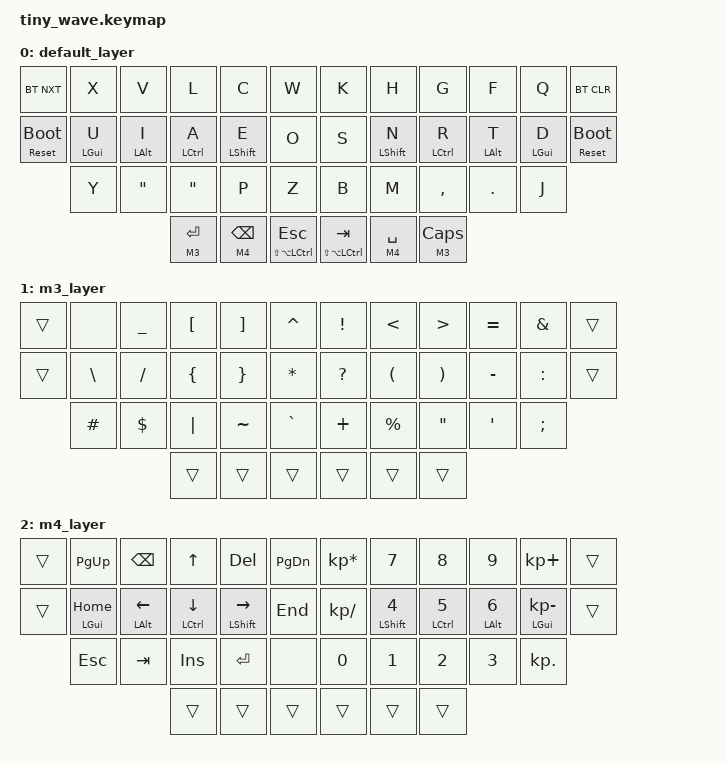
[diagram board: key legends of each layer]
#include <behaviors.dtsi>
#include <dt-bindings/zmk/keys.h>
#include <dt-bindings/zmk/ext_power.h>
#include <dt-bindings/zmk/outputs.h>
#include <dt-bindings/zmk/bt.h>

#define DEFAULT 0
#define M3      1
#define M4      2

#define TAPPING_TERM 300
#define PRIOR_IDLE_TIME 150
#define QUICK_TAP_TIME 300 

#define MEH LS(LA(LCTL))

/ {
    behaviors {
        lhr: left_hand_positional_hold_tap_super {
            compatible = "zmk,behavior-hold-tap";
            label = "LEFT_POSITIONAL_HOLD_TAP_SUPER";
            #binding-cells = <2>;
            flavor = "tap-preferred";
            tapping-term-ms = <TAPPING_TERM>;        // <---[[produces hold if held longer than tapping-term-ms]]
            quick-tap-ms = <QUICK_TAP_TIME>;           // if same button is pressed again after this amount of time it is a tap automatically
            require-prior-idle-ms = <PRIOR_IDLE_TIME>;  // only allow hold behavior if no other key was pressed for this amount of time
            hold-trigger-key-positions = <6 7 8 9 10 18 19 20 21 22 29 30 31 32 33 34 35 36 37 38 39>;    // <---[[right-hand keys + thumbs]]
            hold-trigger-on-release;        // eveluate hold trigger on release -> this enables combining different modifiers by holding different keys
            bindings = <&kp>, <&kp>;
        };
        rhr: right_hand_positional_hold_tap_super {
            compatible = "zmk,behavior-hold-tap";
            label = "RIGHT_POSITIONAL_HOLD_TAP_SUPER";
            #binding-cells = <2>;
            flavor = "tap-preferred";
            tapping-term-ms = <TAPPING_TERM>;        // <---[[produces hold if held longer than tapping-term-ms]]
            quick-tap-ms = <QUICK_TAP_TIME>;           // if same button is pressed again after this amount of time it is a tap automatically
            require-prior-idle-ms = <PRIOR_IDLE_TIME>;  // only allow hold behavior if no other key was pressed for this amount of time
            bindings = <&kp>, <&kp>;
            hold-trigger-key-positions = <1 2 3 4 5 13 14 15 16 17 24 25 26 27 28 34 35 36 37 38 39>;    // <---[[left-hand keys]]
            hold-trigger-on-release;        // eveluate hold trigger on release -> this enables combining different modifiers by holding different keys
        };
        qlt: quick_tap_enabled_layer_tap {
            compatible = "zmk,behavior-hold-tap";
            label = "QUICK_LAYER_TAP";
            #binding-cells = <2>;
            flavor = "tap-preferred";
            tapping-term-ms = <300>;
            quick-tap-ms = <200>;
            bindings = <&mo>, <&kp>;
        };
        rst: reset_or_bootload {
            compatible = "zmk,behavior-hold-tap";
            label = "RESET_OR_BOOTLOAD";
            #binding-cells = <2>;
            flavor = "tap-preferred";
            tapping-term-ms = <300>;
            quick-tap-ms = <200>;
            bindings = <&sys_reset>, <&bootloader>;
        };
    };
    keymap {
        compatible = "zmk,keymap";

        default_layer {
            bindings = <
&bt BT_NXT &kp X        &kp V        &kp L          &kp C          &kp W             &kp K         &kp H          &kp G        &kp F        &kp Q       &bt BT_CLR
&rst 0 0   &lhr LGUI  U &lhr LALT I  &lhr LCTL A    &lhr LSHIFT E  &kp O             &kp S         &rhr LSHIFT N  &rhr LCTL R  &rhr LALT T  &rhr LGUI D &rst 0 0 
           &kp Y        &kp DQT      &kp DQT        &kp P          &kp Z             &kp B         &kp M          &kp COMMA    &kp DOT      &kp J
                                     &qlt M3 RET    &qlt M4 BSPC   &lhr MEH ESC      &rhr MEH TAB  &qlt M4 SPC   &qlt M3 CAPS
            >;
        };

        m3_layer {
            bindings = <
&trans  &none     &kp UNDER  &kp LBKT  &kp RBKT   &kp CARET      &kp EXCL   &kp LT     &kp GT    &kp EQUAL  &kp AMPS   &trans
&trans  &kp BSLH  &kp FSLH   &kp LBRC  &kp RBRC   &kp STAR       &kp QMARK  &kp LPAR   &kp RPAR  &kp MINUS  &kp COLON  &trans
        &kp HASH  &kp DLLR   &kp PIPE  &kp TILDE  &kp GRAVE      &kp PLUS   &kp PRCNT  &kp DQT   &kp SQT    &kp SEMI
                             &trans    &trans     &trans         &trans     &trans     &trans
            >;
        };
        m4_layer {
            bindings = <
&trans &kp PG_UP       &kp BSPC       &kp UP         &kp DEL           &kp PG_DN     &kp KP_MULTIPLY &kp N7         &kp N8       &kp N9       &kp KP_PLUS  &trans
&trans &lhr LGUI HOME  &lhr LALT LEFT &lhr LCTL DOWN &lhr LSHIFT RIGHT &kp END       &kp KP_DIVIDE   &rhr LSHIFT N4 &rhr LCTL N5 &rhr LALT N6 &rhr LGUI KP_MINUS &trans
       &kp ESC         &kp TAB        &kp INSERT     &kp RET           &none         &kp N0          &kp N1         &kp N2       &kp N3       &kp KP_DOT
                                      &trans         &trans            &trans        &trans          &trans         &trans
            >;
        };
    };
};
